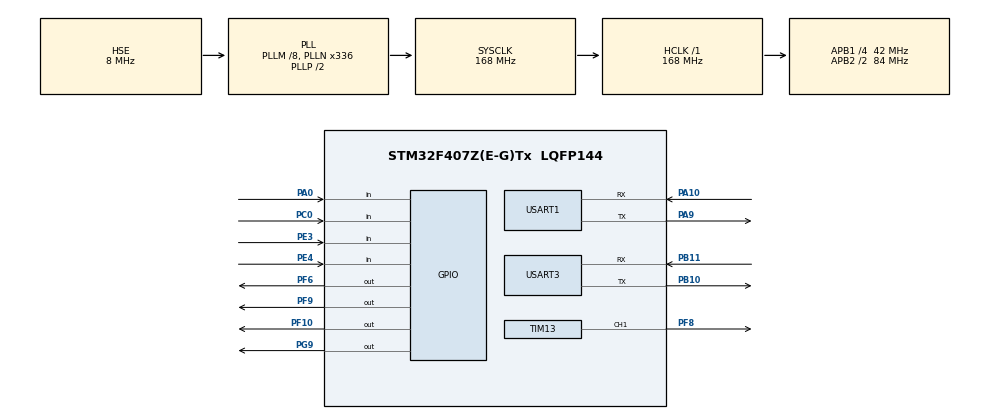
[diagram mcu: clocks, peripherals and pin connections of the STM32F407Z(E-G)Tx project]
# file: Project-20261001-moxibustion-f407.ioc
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Dma.Request0=USART3_RX
Dma.Request1=USART3_TX
Dma.USART3_RX.0.Direction=DMA_PERIPH_TO_MEMORY
Dma.USART3_RX.0.FIFOMode=DMA_FIFOMODE_DISABLE
Dma.USART3_RX.0.Instance=DMA1_Stream1
Dma.USART3_RX.0.MemDataAlignment=DMA_MDATAALIGN_BYTE
Dma.USART3_RX.0.MemInc=DMA_MINC_ENABLE
Dma.USART3_RX.0.Mode=DMA_CIRCULAR
Dma.USART3_RX.0.PeriphDataAlignment=DMA_PDATAALIGN_BYTE
Dma.USART3_RX.0.PeriphInc=DMA_PINC_DISABLE
Dma.USART3_RX.0.Priority=DMA_PRIORITY_LOW
Dma.USART3_TX.1.Direction=DMA_MEMORY_TO_PERIPH
Dma.USART3_TX.1.FIFOMode=DMA_FIFOMODE_DISABLE
Dma.USART3_TX.1.Instance=DMA1_Stream3
Dma.USART3_TX.1.MemDataAlignment=DMA_MDATAALIGN_BYTE
Dma.USART3_TX.1.MemInc=DMA_MINC_ENABLE
Dma.USART3_TX.1.Mode=DMA_NORMAL
Dma.USART3_TX.1.PeriphDataAlignment=DMA_PDATAALIGN_BYTE
Dma.USART3_TX.1.PeriphInc=DMA_PINC_DISABLE
Dma.USART3_TX.1.Priority=DMA_PRIORITY_LOW
FREERTOS.INCLUDE_uxTaskGetStackHighWaterMark=1
FREERTOS.INCLUDE_vTaskDelayUntil=1
FREERTOS.Tasks01=defaultTask,0,128,StartDefaultTask,Default,NULL,Dynamic,NULL,NULL
FREERTOS.configCHECK_FOR_STACK_OVERFLOW=2
FREERTOS.configMAX_PRIORITIES=8
FREERTOS.configTOTAL_HEAP_SIZE=32768
FREERTOS.configUSE_COUNTING_SEMAPHORES=1
Mcu.Family=STM32F4
Mcu.Name=STM32F407Z(E-G)Tx
Mcu.Package=LQFP144
NVIC.DMA1_Stream1_IRQn=true\:5\:0\:true\:false\:true\:true\:false\:true\:true
NVIC.DMA1_Stream3_IRQn=true\:5\:0\:true\:false\:true\:true\:false\:true\:true
NVIC.PriorityGroup=NVIC_PRIORITYGROUP_4
NVIC.TIM6_DAC_IRQn=true\:15\:0\:false\:false\:true\:false\:false\:true\:true
NVIC.TimeBase=TIM6_DAC_IRQn
NVIC.TimeBaseIP=TIM6
NVIC.USART3_IRQn=true\:5\:0\:true\:false\:true\:true\:false\:true\:true
PA0-WKUP.GPIO_PuPd=GPIO_PULLDOWN
PA0-WKUP.Signal=GPIO_Input
PA10.Mode=Asynchronous
PA10.Signal=USART1_RX
PA13.Mode=Serial_Wire
PA13.Signal=SYS_JTMS-SWDIO
PA14.Mode=Serial_Wire
PA14.Signal=SYS_JTCK-SWCLK
PA9.Mode=Asynchronous
PA9.Signal=USART1_TX
PB10.Mode=Asynchronous
PB10.Signal=USART3_TX
PB11.Mode=Asynchronous
PB11.Signal=USART3_RX
PC0.Signal=GPIO_Input
PE3.GPIO_PuPd=GPIO_PULLUP
PE3.Signal=GPIO_Input
PE4.GPIO_PuPd=GPIO_PULLUP
PE4.Signal=GPIO_Input
PF10.Signal=GPIO_Output
PF6.PinState=GPIO_PIN_SET
PF6.Signal=GPIO_Output
PF8.Signal=S_TIM13_CH1
PF9.Signal=GPIO_Output
PG9.GPIO_ModeDefaultOutputPP=GPIO_MODE_OUTPUT_OD
PG9.GPIO_PuPd=GPIO_NOPULL
PG9.GPIO_Speed=GPIO_SPEED_FREQ_HIGH
PG9.PinState=GPIO_PIN_SET
PG9.Signal=GPIO_Output
PH0-OSC_IN.Mode=HSE-External-Oscillator
PH0-OSC_IN.Signal=RCC_OSC_IN
PH1-OSC_OUT.Mode=HSE-External-Oscillator
PH1-OSC_OUT.Signal=RCC_OSC_OUT
ProjectManager.HeapSize=0x200
ProjectManager.StackSize=0x400
ProjectManager.TargetToolchain=MDK-ARM V5.32
RCC.48MHZClocksFreq_Value=84000000
RCC.AHBFreq_Value=168000000
RCC.APB1CLKDivider=RCC_HCLK_DIV4
RCC.APB1Freq_Value=42000000
RCC.APB1TimFreq_Value=84000000
RCC.APB2CLKDivider=RCC_HCLK_DIV2
RCC.APB2Freq_Value=84000000
RCC.APB2TimFreq_Value=168000000
RCC.CortexFreq_Value=168000000
RCC.HCLKFreq_Value=168000000
RCC.HSE_VALUE=8000000
RCC.HSI_VALUE=16000000
RCC.LSE_VALUE=32768
RCC.PLLM=8
RCC.PLLN=336
RCC.PLLSourceVirtual=RCC_PLLSOURCE_HSE
RCC.SYSCLKFreq_VALUE=168000000
RCC.SYSCLKSource=RCC_SYSCLKSOURCE_PLLCLK
RCC.VCOOutputFreq_Value=336000000
SH.S_TIM13_CH1.0=TIM13_CH1,PWM Generation1 CH1
TIM13.Channel=TIM_CHANNEL_1
TIM13.Period=499
TIM13.Prescaler=83
TIM13.Pulse=250
USART1.VirtualMode=VM_ASYNC
USART3.VirtualMode=VM_ASYNC
VP_FREERTOS_VS_CMSIS_V1.Mode=CMSIS_V1
VP_SYS_VS_tim6.Mode=TIM6
VP_TIM13_VS_ClockSourceINT.Mode=Enable_Timer
board=custom

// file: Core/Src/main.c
/* USER CODE BEGIN Header */
/**
  ******************************************************************************
  * @file           : main.c
  * @brief          : Main program body
  ******************************************************************************
  * @attention
  *
  * Copyright (c) 2026 STMicroelectronics.
  * All rights reserved.
  *
  * This software is licensed under terms that can be found in the LICENSE file
  * in the root directory of this software component.
  * If no LICENSE file comes with this software, it is provided AS-IS.
  *
  ******************************************************************************
  */
/* USER CODE END Header */
#include "main.h"
#include "cmsis_os.h"
#include "dma.h"
#include "tim.h"
#include "usart.h"
#include "gpio.h"

/* USER CODE BEGIN Includes */

/* 我们自己的四层代码：启动序列要用到的头文件 */
#include "app_cfg.h"
#include "app_ctx.h"
#include "app_tasks.h"
#include "cm_log.h"

/* USER CODE END Includes */

void SystemClock_Config(void);
void MX_FREERTOS_Init(void);

int main(void)
{

  /* MCU Configuration--------------------------------------------------------*/

  /* Reset of all peripherals, Initializes the Flash interface and the Systick. */
  HAL_Init();

  /* Configure the system clock */
  SystemClock_Config();

  /* Initialize all configured peripherals */
  MX_GPIO_Init();
  MX_DMA_Init();
  MX_TIM13_Init();
  MX_USART1_UART_Init();
  MX_USART3_UART_Init();
  /* USER CODE BEGIN 2 */

  /* 启动序列，顺序不能换（详见 docs/M1-CubeMX配置清单.md 第 8 节）：
   *   ① 定配置 → ② 建上下文 → ③ 接日志 → ④ 建任务 → ⑤ 打印复位原因
   * 注意 ①② 都在调度器启动之前，所以它们内部不许调用任何 FreeRTOS API。 */
  {
    /* 配置直接取 app_cfg.h 的默认值：删掉 24C02 持久化之后，参数只在内存里活着 */
    static const moxa_cfg_t boot_cfg = {
        .th_max_c   = APP_DEF_TH_C,
        .duration_s = APP_DEF_DUR_S,
    };

    /* ① 建队列 / 事件组 / 互斥量，并用配置初始化共享状态 */
    (void)app_ctx_init(&boot_cfg);

    /* ② 把日志接到 USART1（从这里往后的日志才真的打得出来） */
    app_log_init();

    cm_log_printf("boot: config th=%u C dur=%u s (defaults, no persistence)",
                  (unsigned)boot_cfg.th_max_c, (unsigned)boot_cfg.duration_s);

    /* ③ 建 5 个任务（优先级与栈深全在 app_cfg.h 里） */
    (void)app_tasks_create();

    /* ④ 复位原因：看门狗复位要能一眼认出来（IWDG 到 M5 才真正启用） */
    if (__HAL_RCC_GET_FLAG(RCC_FLAG_IWDGRST) != 0U) {
        cm_log_printf("boot: reset source = IWDG (watchdog)");
    } else if (__HAL_RCC_GET_FLAG(RCC_FLAG_PINRST) != 0U) {
        cm_log_printf("boot: reset source = NRST pin");
    } else {
        cm_log_printf("boot: reset source = POR/PDR or software");
    }
    __HAL_RCC_CLEAR_RESET_FLAGS();
  }

  /* USER CODE END 2 */

  /* Call init function for freertos objects (in cmsis_os2.c) */
  MX_FREERTOS_Init();

  /* Start scheduler */
  osKernelStart();

  /* We should never get here as control is now taken by the scheduler */

  /* Infinite loop */
  while (1)
  {

  }
}

void SystemClock_Config(void)
{
  RCC_OscInitTypeDef RCC_OscInitStruct = {0};
  RCC_ClkInitTypeDef RCC_ClkInitStruct = {0};

  /** Configure the main internal regulator output voltage
  */
  __HAL_RCC_PWR_CLK_ENABLE();
  __HAL_PWR_VOLTAGESCALING_CONFIG(PWR_REGULATOR_VOLTAGE_SCALE1);

  /** Initializes the RCC Oscillators according to the specified parameters
  * in the RCC_OscInitTypeDef structure.
  */
  RCC_OscInitStruct.OscillatorType = RCC_OSCILLATORTYPE_HSE;
  RCC_OscInitStruct.HSEState = RCC_HSE_ON;
  RCC_OscInitStruct.PLL.PLLState = RCC_PLL_ON;
  RCC_OscInitStruct.PLL.PLLSource = RCC_PLLSOURCE_HSE;
  RCC_OscInitStruct.PLL.PLLM = 8;
  RCC_OscInitStruct.PLL.PLLN = 336;
  RCC_OscInitStruct.PLL.PLLP = RCC_PLLP_DIV2;
  RCC_OscInitStruct.PLL.PLLQ = 4;
  if (HAL_RCC_OscConfig(&RCC_OscInitStruct) != HAL_OK)
  {
    Error_Handler();
  }

  /** Initializes the CPU, AHB and APB buses clocks
  */
  RCC_ClkInitStruct.ClockType = RCC_CLOCKTYPE_HCLK|RCC_CLOCKTYPE_SYSCLK
                              |RCC_CLOCKTYPE_PCLK1|RCC_CLOCKTYPE_PCLK2;
  RCC_ClkInitStruct.SYSCLKSource = RCC_SYSCLKSOURCE_PLLCLK;
  RCC_ClkInitStruct.AHBCLKDivider = RCC_SYSCLK_DIV1;
  RCC_ClkInitStruct.APB1CLKDivider = RCC_HCLK_DIV4;
  RCC_ClkInitStruct.APB2CLKDivider = RCC_HCLK_DIV2;

  if (HAL_RCC_ClockConfig(&RCC_ClkInitStruct, FLASH_LATENCY_5) != HAL_OK)
  {
    Error_Handler();
  }
}

void HAL_TIM_PeriodElapsedCallback(TIM_HandleTypeDef *htim)
{
  if (htim->Instance == TIM6)
  {
    HAL_IncTick();
  }
}

void Error_Handler(void)
{
  __disable_irq();
  while (1)
  {
  }
}

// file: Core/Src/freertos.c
/* USER CODE BEGIN Header */
/**
  ******************************************************************************
  * File Name          : freertos.c
  * Description        : Code for freertos applications
  ******************************************************************************
  * @attention
  *
  * Copyright (c) 2026 STMicroelectronics.
  * All rights reserved.
  *
  * This software is licensed under terms that can be found in the LICENSE file
  * in the root directory of this software component.
  * If no LICENSE file comes with this software, it is provided AS-IS.
  *
  ******************************************************************************
  */
/* USER CODE END Header */

#include "FreeRTOS.h"
#include "task.h"
#include "main.h"
#include "cmsis_os.h"

osThreadId defaultTaskHandle;

void StartDefaultTask(void const * argument);

void MX_FREERTOS_Init(void); /* (MISRA C 2004 rule 8.1) */

/* GetIdleTaskMemory prototype (linked to static allocation support) */
void vApplicationGetIdleTaskMemory( StaticTask_t **ppxIdleTaskTCBBuffer, StackType_t **ppxIdleTaskStackBuffer, uint32_t *pulIdleTaskStackSize );

/* Hook prototypes */
void vApplicationStackOverflowHook(xTaskHandle xTask, signed char *pcTaskName);

/* USER CODE BEGIN 4 */
__weak void vApplicationStackOverflowHook(xTaskHandle xTask, signed char *pcTaskName)
{
   /* Run time stack overflow checking is performed if
   configCHECK_FOR_STACK_OVERFLOW is defined to 1 or 2. This hook function is
   called if a stack overflow is detected. */
}
/* USER CODE END 4 */

/* USER CODE BEGIN GET_IDLE_TASK_MEMORY */
static StaticTask_t xIdleTaskTCBBuffer;
static StackType_t xIdleStack[configMINIMAL_STACK_SIZE];

void vApplicationGetIdleTaskMemory( StaticTask_t **ppxIdleTaskTCBBuffer, StackType_t **ppxIdleTaskStackBuffer, uint32_t *pulIdleTaskStackSize )
{
  *ppxIdleTaskTCBBuffer = &xIdleTaskTCBBuffer;
  *ppxIdleTaskStackBuffer = &xIdleStack[0];
  *pulIdleTaskStackSize = configMINIMAL_STACK_SIZE;
  /* place for user code */
}
/* USER CODE END GET_IDLE_TASK_MEMORY */

void MX_FREERTOS_Init(void) {

  /* Create the thread(s) */
  /* definition and creation of defaultTask */
  osThreadDef(defaultTask, StartDefaultTask, osPriorityNormal, 0, 128);
  defaultTaskHandle = osThreadCreate(osThread(defaultTask), NULL);

}

void StartDefaultTask(void const * argument)
{
  for(;;)
  {
    osDelay(1);
  }
}
